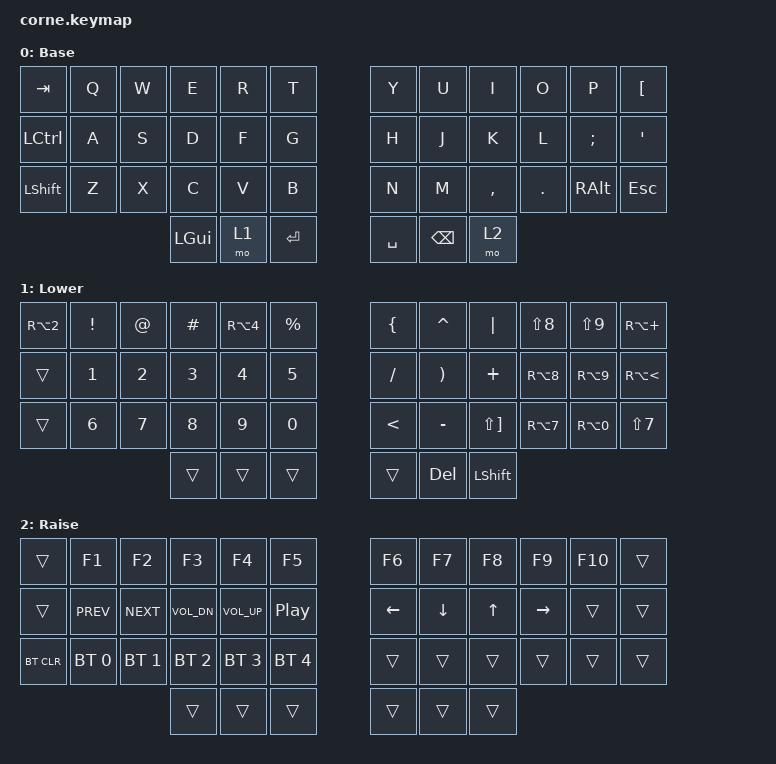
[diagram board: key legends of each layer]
/*
 * Copyright (c) 2020 The ZMK Contributors
 *
 * SPDX-License-Identifier: MIT
 */

#include <behaviors.dtsi>
#include <dt-bindings/zmk/keys.h>
#include <dt-bindings/zmk/bt.h>

/ {
        keymap {
                compatible = "zmk,keymap";

// Translation table (US to SE):
//  ;  (SEMI)   ->  ö
//  '  (SQT)    ->  ä
//  /  (FSLH)   ->  -
//  @  (AT)     ->  "
//  $  (DLLR)   ->  ¤
//  ^  (CARET)  ->  &
//  &  (AMPS)   ->  /
//  (  (LPAR)   ->  )
//  )  (RPAR)   ->  =
//  \  (BSLH)   ->   '
//  -  (MINUS)  ->  +
//  =  (EQUAL)  ->  ´
//  `  (GRAVE)  ->  §
//  [  (LBKT)   ->  å
//  ]  (RBKT)   ->  ¨
//  |  (PIPE)   ->  *
//  _  (UNDER)  ->  ?
//  +  (PLUS)   ->  `
//  ~  (TILDE)  ->  ½
//  {  (LBRC)   ->  Å
//  }  (LBRC)   ->  ^

                default_layer {
// -----------------------------------------------------------------------------------------
// | TAB  |  Q  |  W  |  E  |  R  |  T  |   |  Y  |  U   |  I  |  O  |  P  |  Å   |
// | CTRL |  A  |  S  |  D  |  F  |  G  |   |  H  |  J   |  K  |  L  |  Ö  |  Ä   |
// | SHFT |  Z  |  X  |  C  |  V  |  B  |   |  N  |  M   |  ,  |  .  | ALT | ESC  |
//                    | GUI | LWR | ENT |   | SPC | BKSP | RSE |
                        label = "Base";
                        bindings = <
   &kp TAB   &kp Q &kp W &kp E    &kp R &kp T      &kp Y     &kp U    &kp I     &kp O   &kp P    &kp LBKT
   &kp LCTRL &kp A &kp S &kp D    &kp F &kp G      &kp H     &kp J    &kp K     &kp L   &kp SEMI &kp SQT
   &kp LSHFT &kp Z &kp X &kp C    &kp V &kp B      &kp N     &kp M    &kp COMMA &kp DOT &kp RALT &kp ESC
                         &kp LGUI &mo 1 &kp RET    &kp SPACE &kp BSPC &mo 2
                        >;
                };
                lower_layer {
// -----------------------------------------------------------------------------------------
// |   @  |  !  |  "  |  #  |  $  |   %  |   |  ^  |  &  |  *  |  (  |  )  |   \   |
// |      |  1  |  2  |  3  |  4  |   5  |   |  -  |  =  |  `  |  [  |  ]  |  "|"  |
// |      |  6  |  7  |  8  |  9  |   0  |   |  <  |  +  |  ~  |  {  |  }  |   /   |
//                    |     |     |      |   |     | DEL | SHFT|
                        label = "Lower";
                        bindings = <
   &kp RA(N2) &kp EXCL &kp AT &kp HASH &kp RA(N4) &kp PRCNT   &kp LBRC   &kp CARET &kp PIPE     &kp LS(N8) &kp LS(N9) &kp RA(PLUS)
   &trans     &kp N1   &kp N2 &kp N3   &kp N4     &kp N5      &kp FSLH   &kp RPAR  &kp PLUS     &kp RA(N8) &kp RA(N9) &kp RA(LT)
   &trans     &kp N6   &kp N7 &kp N8   &kp N9     &kp N0      &kp LT     &kp MINUS &kp LS(RBKT) &kp RA(N7) &kp RA(N0) &kp LS(N7)
                              &trans   &trans     &trans      &trans     &kp DEL   &kp LSHFT
                        >;
                };

                raise_layer {
// -----------------------------------------------------------------------------------------
// |       |  F1  |  F2  |  F3   |  F4   |  F5        |   |  F6  | F7  | F8  | F9  | F10 |     |
// |       | Prev | Next | Vol - | Vol + | Play/Pause |   | LEFT | DWN | UP  | RGT |     |     |
// | BTCLR | BT1  | BT2  | BT3   | BT4   | BT5        |   |      |     |     |     |     |     |
//                       |       |       |            |   |      |     |     |
                        label = "Raise";
                        bindings = <
   &trans     &kp F1       &kp F2       &kp F3       &kp F4       &kp F5          &kp F6   &kp F7   &kp F8 &kp F9    &kp F10 &trans
   &trans     &kp C_PREV   &kp C_NEXT   &kp C_VOL_DN &kp C_VOL_UP &kp C_PP        &kp LEFT &kp DOWN &kp UP &kp RIGHT &trans  &trans
   &bt BT_CLR &bt BT_SEL 0 &bt BT_SEL 1 &bt BT_SEL 2 &bt BT_SEL 3 &bt BT_SEL 4    &trans   &trans   &trans &trans    &trans  &trans
                          	        &trans       &trans       &trans          &trans   &trans   &trans
                        >;
                };
        };
};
